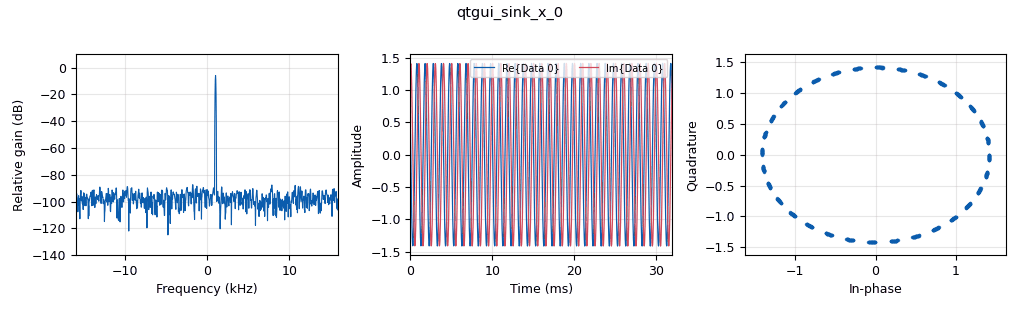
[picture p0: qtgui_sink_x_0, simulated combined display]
<?xml version='1.0' encoding='utf-8'?>
<?grc format='1' created='3.7.13'?>
<flow_graph>
<block>
<key>options</key>
<param><key>id</key><value>top_block</value></param>
<param><key>generate_options</key><value>qt_gui</value></param>
</block>
<block>
<key>variable</key>
<param><key>id</key><value>samp_rate</value></param>
<param><key>value</key><value>32000</value></param>
</block>
<block>
<key>analog_sig_source_x</key>
<param><key>id</key><value>analog_sig_source_x_0</value></param>
<param><key>amp</key><value>1</value></param>
<param><key>freq</key><value>1000</value></param>
<param><key>offset</key><value>0</value></param>
<param><key>type</key><value>complex</value></param>
<param><key>samp_rate</key><value>samp_rate</value></param>
<param><key>waveform</key><value>analog.GR_COS_WAVE</value></param>
</block>
<block>
<key>blocks_throttle</key>
<param><key>id</key><value>blocks_throttle_0</value></param>
<param><key>samples_per_second</key><value>samp_rate</value></param>
<param><key>type</key><value>complex</value></param>
</block>
<block>
<key>channels_channel_model</key>
<param><key>id</key><value>channels_channel_model_0</value></param>
<param><key>epsilon</key><value>1.0</value></param>
<param><key>freq_offset</key><value>0.00001</value></param>
<param><key>noise_voltage</key><value>0.001</value></param>
<param><key>seed</key><value>0</value></param>
<param><key>taps</key><value>1.0 + 1.0j</value></param>
</block>
<block>
<key>qtgui_number_sink</key>
<param><key>id</key><value>detfreq</value></param>
<param><key>graph_type</key><value>qtgui.NUM_GRAPH_HORIZ</value></param>
<param><key>type</key><value>float</value></param>
<param><key>max</key><value>1010</value></param>
<param><key>min</key><value>-1010</value></param>
</block>
<block>
<key>analog_pll_freqdet_cf</key>
<param><key>id</key><value>detfreqvar</value></param>
<param><key>w</key><value>0</value></param>
<param><key>max_freq</key><value>1000</value></param>
<param><key>min_freq</key><value>9999</value></param>
</block>
<block>
<key>qtgui_sink_x</key>
<param><key>id</key><value>qtgui_sink_x_0</value></param>
<param><key>bw</key><value>samp_rate</value></param>
<param><key>fc</key><value>0</value></param>
<param><key>freqchangevar</key><value>None</value></param>
<param><key>fftsize</key><value>1024</value></param>
<param><key>showports</key><value>True</value></param>
<param><key>type</key><value>complex</value></param>
<param><key>wintype</key><value>firdes.WIN_BLACKMAN_hARRIS</value></param>
</block>
<connection><source_block_id>analog_sig_source_x_0</source_block_id><sink_block_id>blocks_throttle_0</sink_block_id><source_key>0</source_key><sink_key>0</sink_key></connection>
<connection><source_block_id>blocks_throttle_0</source_block_id><sink_block_id>channels_channel_model_0</sink_block_id><source_key>0</source_key><sink_key>0</sink_key></connection>
<connection><source_block_id>channels_channel_model_0</source_block_id><sink_block_id>detfreqvar</sink_block_id><source_key>0</source_key><sink_key>0</sink_key></connection>
<connection><source_block_id>channels_channel_model_0</source_block_id><sink_block_id>qtgui_sink_x_0</sink_block_id><source_key>0</source_key><sink_key>0</sink_key></connection>
<connection><source_block_id>detfreqvar</source_block_id><sink_block_id>detfreq</sink_block_id><source_key>0</source_key><sink_key>0</sink_key></connection>
</flow_graph>
